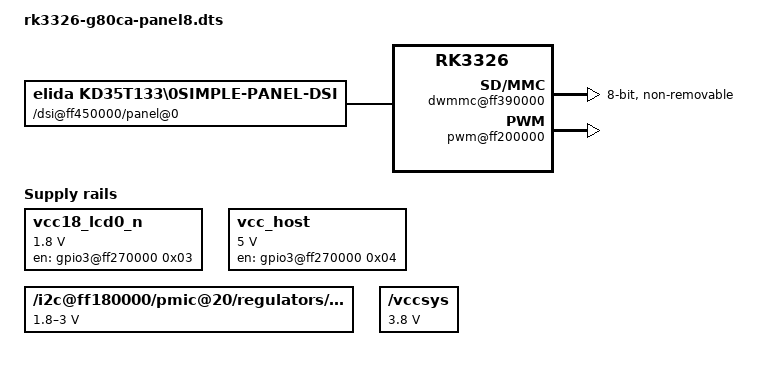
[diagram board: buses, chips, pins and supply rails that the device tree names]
// SPDX-License-Identifier: (GPL-2.0+ OR MIT)
/*
 * G80CA-MB V1.3-20251212 Panel 8 hardware-data adaptation.
 * Base: lcdyk0517/arkos.bsp.4.4, 382f9c6ddcb4a8d4f0162228305545e647cca97c.
 * Hardware values observed in the harvested device DTB, SHA-256:
 * 5fbba0469fc8560381b2bf37a67d1a785561f09ee783cf2ff5dc7f32c031adf7.
 * This is a reconstruction, not the original manufacturer DTS.
 * The license above covers this adaptation and its licensed BSP base; it
 * does not assert a redistribution license for the harvested vendor binary.
 */
#include "rk3326-r36s-type2-panel1-linux.dts"

&{/} {
	model = "G80CA-MB V1.3-20251212 Panel 8";
	/delete-node/ arkos4clone-leds;
	/delete-node/ charge-animation;
	/delete-node/ vbus_host;
	vcc18_lcd0 {
		compatible = "regulator-fixed";
		enable-active-high;
		gpio = <&{/pinctrl/gpio3@ff270000} 0x03 0x00>;
		pinctrl-0 = <&{/pinctrl/vcc18-lcd/vcc18-lcd-n}>;
		pinctrl-names = "default";
		regulator-boot-on;
		regulator-max-microvolt = <0x1b7740>;
		regulator-min-microvolt = <0x1b7740>;
		regulator-name = "vcc18_lcd0_n";
		regulator-state-mem {
			regulator-off-in-suspend;
		};
	};
	vcc_host {
		compatible = "regulator-fixed";
		enable-active-high;
		gpio = <&{/pinctrl/gpio3@ff270000} 0x04 0x00>;
		pinctrl-0 = <&{/pinctrl/vcc5-usb/vcc5-usb}>;
		pinctrl-names = "default";
		regulator-always-on;
		regulator-max-microvolt = <0x4c4b40>;
		regulator-min-microvolt = <0x4c4b40>;
		regulator-name = "vcc_host";
		vin-supply = <&{/i2c@ff180000/pmic@20/regulators/BOOST}>;
	};
};

&{/aliases} {
	mmc0 = "/dwmmc@ff370000";
	mmc1 = "/dwmmc@ff380000";
};

&{/backlight} {
	power-supply = <&{/i2c@ff180000/pmic@20/regulators/LDO_REG7}>;
};

&{/cpu0-opp-table} {
	rockchip,max-volt = <0x149970>;
	/delete-node/ opp-1368000000;
	/delete-node/ opp-1440000000;
	/delete-node/ opp-1464000000;
	/delete-node/ opp-1488000000;
	/delete-node/ opp-1608000000;
	/delete-node/ opp-408000000;
	/delete-node/ opp-600000000;
	/delete-node/ opp-816000000;
};

&{/dmc-opp-table} {
	/delete-node/ opp-1040000000;
	/delete-node/ opp-194000000;
	/delete-node/ opp-328000000;
	/delete-node/ opp-450000000;
	/delete-node/ opp-924000000;
};

&{/dmc-opp-table/opp-786000000} {
	status = "disabled";
};

&{/dsi@ff450000/panel@0} {
	compatible = "elida,kd35t133\0simple-panel-dsi";
	/delete-property/ enable-gpios;
	power-supply = <&{/vcc18_lcd0}>;
	/delete-property/ uboot-disable-delay-ms;
	/delete-property/ uboot-enable-delay-ms;
	/delete-property/ uboot-init-delay-ms;
	/delete-property/ uboot-prepare-delay-ms;
	/delete-property/ uboot-reset-delay-ms;
	/delete-property/ uboot-unprepare-delay-ms;
};

&{/dsi@ff450000/panel@0/display-timings} {
	native-mode = <&{/dsi@ff450000/panel@0/display-timings/adjust}>;
	/delete-node/ original;
	origin {
		clock-frequency = <0x1c9c380>;
		de-active = <0x00>;
		hactive = <0x280>;
		hback-porch = <0x96>;
		hfront-porch = <0x96>;
		hsync-active = <0x00>;
		hsync-len = <0x32>;
		pixelclk-active = <0x00>;
		vactive = <0x1e0>;
		vback-porch = <0x0c>;
		vfront-porch = <0x14>;
		vsync-active = <0x00>;
		vsync-len = <0x06>;
	};
};

&{/dwmmc@ff370000} {
	cap-mmc-highspeed;
	max-frequency = <0x8f0d180>;
};

&{/dwmmc@ff380000} {
	cap-mmc-highspeed;
	max-frequency = <0x8f0d180>;
	pinctrl-0 = <&{/pinctrl/sdio/sdio-bus4} &{/pinctrl/sdio/sdio-cmd} &{/pinctrl/sdio/sdio-clk}>;
};

&{/dwmmc@ff390000} {
	bus-width = <0x08>;
	cap-mmc-highspeed;
	clock-names = "biu\0ciu";
	clocks = <&{/clock-controller@ff2b0000} 0x100 &{/clock-controller@ff2b0000} 0x39>;
	disable-wp;
	no-sd;
	no-sdio;
	non-removable;
	num-slots = <0x01>;
	pinctrl-0 = <&{/pinctrl/emmc/emmc-clk} &{/pinctrl/emmc/emmc-cmd} &{/pinctrl/emmc/emmc-bus8} &{/pinctrl/emmc/emmc-pwren} &{/pinctrl/emmc/emmc-rstnout}>;
	pinctrl-names = "default";
	supports-emmc;
	vmmc-supply = <&{/i2c@ff180000/pmic@20/regulators/DCDC_REG4}>;
	vqmmc-supply = <&{/i2c@ff180000/pmic@20/regulators/LDO_REG2}>;
};

&{/gpu-opp-table} {
	/delete-node/ opp-200000000;
	/delete-node/ opp-300000000;
	/delete-node/ opp-560000000;
	/delete-node/ opp-600000000;
	/delete-node/ opp-640000000;
};

&{/i2c@ff180000/pmic@20/battery} {
	bat_res = <0x64>;
	compatible = "rk817,battery";
	dc_det_gpio = <&{/vccsys} 0x05 0x00>;
	ocv_table = <0xd48 0xd75 0xdae 0xde0 0xe0e 0xe35 0xe5f 0xe95 0xec6 0xeef 0xf19 0xf32 0xf40 0xf59 0xf89 0xfb1 0xfb6 0xfc6 0xfe3 0x101b 0x1051>;
	/delete-property/ power_dc2otg;
};

&{/i2c@ff180000/pmic@20/charger} {
	max_chrg_current = <0x320>;
	max_input_current = <0x320>;
};

&{/i2c@ff180000/pmic@20/codec} {
	/delete-property/ volume-min-db;
};

&{/i2c@ff180000/pmic@20/regulators} {
	OTG_SWITCH {
		regulator-boot-on;
		regulator-name = "otg_switch";
	};
};

&{/i2c@ff180000/pmic@20/regulators/DCDC_REG1} {
	regulator-max-microvolt = <0x118c30>;
};

&{/i2c@ff180000/pmic@20/regulators/LDO_REG5} {
	regulator-max-microvolt = <0x1b7740>;
};

&{/i2c@ff180000/pmic@20/regulators/LDO_REG5/regulator-state-mem} {
	regulator-suspend-microvolt = <0x1b7740>;
};

&{/i2c@ff180000/pmic@20/regulators/LDO_REG6} {
	regulator-always-on;
	regulator-boot-on;
	regulator-max-microvolt = <0x2dc6c0>;
	regulator-min-microvolt = <0x1b7740>;
};

&{/i2c@ff180000/pmic@20/regulators/LDO_REG6/regulator-state-mem} {
	regulator-suspend-microvolt = <0x2dc6c0>;
};

&{/i2c@ff180000/pmic@20/regulators/LDO_REG7} {
	regulator-init-microvolt = <0x2dc6c0>;
	regulator-name = "vcc_backlight";
};

&{/i2c@ff180000/pmic@20/regulators/LDO_REG7/regulator-state-mem} {
	regulator-suspend-microvolt = <0x2dc6c0>;
};

&{/i2c@ff180000/pmic@20/regulators/LDO_REG8} {
	regulator-name = "vcc3v0_dvp";
};

&{/odroidgo3-joypad} {
	/delete-property/ button-adc-max-step;
	pinctrl-1 = <&{/pinctrl/pwm0/pwm0-pin}>;
	pwm-names = "enable";
	pwms = <&{/pwm@ff200000} 0x00 0xbebc200 0x00>;
	rumble-boost-strong = <0x00>;
	rumble-boost-weak = <0x00>;
};

&{/odroidgo3-joypad/sw7} {
	label = "GPIO BTN-X";
};

&{/odroidgo3-joypad/sw8} {
	label = "GPIO BTN-Y";
};

&{/pinctrl} {
	vcc18-lcd {
		vcc18-lcd-n {
			rockchip,pins = <0x03 0x03 0x00 &{/pinctrl/pcfg-pull-none}>;
		};
	};
	vcc5-usb {
		vcc5-usb {
			rockchip,pins = <0x03 0x04 0x00 &{/pinctrl/pcfg-pull-none}>;
		};
	};
};

&{/pinctrl/btns/btn-pins} {
	rockchip,pins = <0x03 0x0b 0x00 &{/pinctrl/pcfg-pull-up} 0x03 0x0c 0x00 &{/pinctrl/pcfg-pull-up} 0x03 0x0d 0x00 &{/pinctrl/pcfg-pull-up} 0x03 0x0e 0x00 &{/pinctrl/pcfg-pull-up} 0x03 0x10 0x00 &{/pinctrl/pcfg-pull-up} 0x03 0x11 0x00 &{/pinctrl/pcfg-pull-up} 0x03 0x12 0x00 &{/pinctrl/pcfg-pull-up} 0x03 0x13 0x00 &{/pinctrl/pcfg-pull-up} 0x03 0x14 0x00 &{/pinctrl/pcfg-pull-up} 0x03 0x15 0x00 &{/pinctrl/pcfg-pull-up} 0x03 0x16 0x00 &{/pinctrl/pcfg-pull-up} 0x03 0x17 0x00 &{/pinctrl/pcfg-pull-up} 0x03 0x18 0x00 &{/pinctrl/pcfg-pull-up} 0x03 0x19 0x00 &{/pinctrl/pcfg-pull-up} 0x03 0x0a 0x00 &{/pinctrl/pcfg-pull-up} 0x03 0x0f 0x00 &{/pinctrl/pcfg-pull-up} 0x02 0x0d 0x00 &{/pinctrl/pcfg-pull-up} 0x02 0x0e 0x00 &{/pinctrl/pcfg-pull-up}>;
};

&{/pinctrl/sdio} {
	/delete-node/ sdio-det-gpio0-a2;
	/delete-node/ sdio-det-gpio3-b4;
	/delete-node/ sdio-det-gpio3-b6;
};

&{/pwm@ff200000} {
	status = "okay";
};

&{/serial@ff178000} {
	clock-frequency = <0x1c200>;
};

&{/usb@ff300000} {
	/delete-property/ vbus-supply;
};

&{/vccsys} {
	/delete-property/ regulator-boot-on;
	regulator-max-microvolt = <0x39fbc0>;
	regulator-min-microvolt = <0x39fbc0>;
	regulator-name = "vcc3v8_sys";
};

